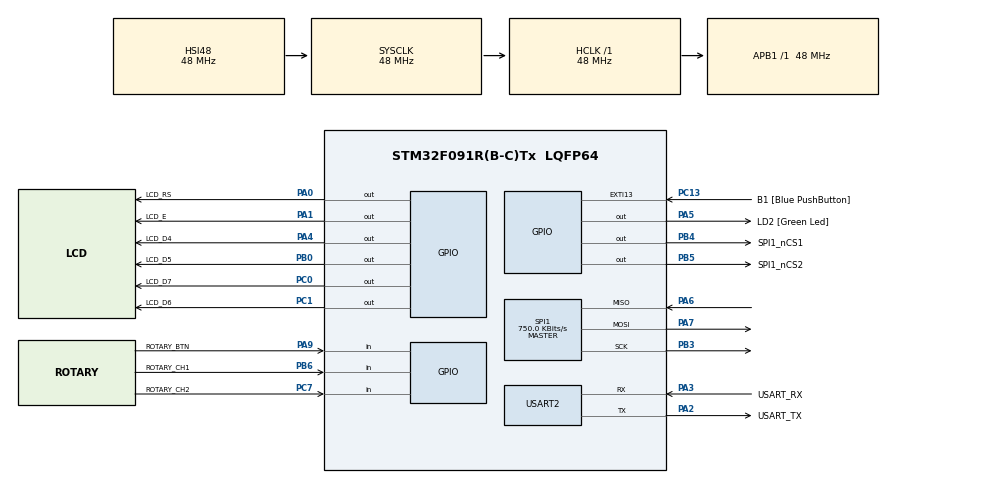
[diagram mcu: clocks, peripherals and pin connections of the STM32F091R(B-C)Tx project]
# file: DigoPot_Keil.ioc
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Dma.Request0=USART2_RX
Dma.Request1=USART2_TX
Dma.USART2_RX.0.DMA1_Remap_Macro_Arg=HAL_DMA1_CH1_USART2_RX
Dma.USART2_RX.0.Direction=DMA_PERIPH_TO_MEMORY
Dma.USART2_RX.0.Instance=DMA1_Channel1
Dma.USART2_RX.0.MemDataAlignment=DMA_MDATAALIGN_BYTE
Dma.USART2_RX.0.MemInc=DMA_MINC_DISABLE
Dma.USART2_RX.0.Mode=DMA_CIRCULAR
Dma.USART2_RX.0.PeriphDataAlignment=DMA_PDATAALIGN_BYTE
Dma.USART2_RX.0.PeriphInc=DMA_PINC_DISABLE
Dma.USART2_RX.0.Priority=DMA_PRIORITY_MEDIUM
Dma.USART2_RX.0.Request=DMA_REQUEST_9
Dma.USART2_TX.1.DMA1_Remap_Macro_Arg=HAL_DMA1_CH2_USART2_TX
Dma.USART2_TX.1.Direction=DMA_MEMORY_TO_PERIPH
Dma.USART2_TX.1.Instance=DMA1_Channel2
Dma.USART2_TX.1.MemDataAlignment=DMA_MDATAALIGN_BYTE
Dma.USART2_TX.1.MemInc=DMA_MINC_ENABLE
Dma.USART2_TX.1.Mode=DMA_NORMAL
Dma.USART2_TX.1.PeriphDataAlignment=DMA_PDATAALIGN_BYTE
Dma.USART2_TX.1.PeriphInc=DMA_PINC_DISABLE
Dma.USART2_TX.1.Priority=DMA_PRIORITY_MEDIUM
Dma.USART2_TX.1.Request=DMA_REQUEST_9
Mcu.Family=STM32F0
Mcu.Name=STM32F091R(B-C)Tx
Mcu.Package=LQFP64
NVIC.DMA1_Ch1_IRQn=true\:0\:0\:false
NVIC.DMA1_Ch2_3_DMA2_Ch1_2_IRQn=true\:0\:0\:false
NVIC.TIM3_IRQn=true\:0\:0\:false
NVIC.USART2_IRQn=true\:0\:0\:false
PA0.GPIO_Label=LCD_RS
PA0.GPIO_ModeDefaultOutputPP=GPIO_MODE_OUTPUT_PP
PA0.GPIO_PuPd=GPIO_NOPULL
PA0.GPIO_Speed=GPIO_SPEED_LOW
PA0.Signal=GPIO_Output
PA1.GPIO_Label=LCD_E
PA1.GPIO_ModeDefaultOutputPP=GPIO_MODE_OUTPUT_PP
PA1.GPIO_PuPd=GPIO_NOPULL
PA1.GPIO_Speed=GPIO_SPEED_LOW
PA1.Signal=GPIO_Output
PA13.GPIO_Label=TMS
PA13.Mode=Serial-WireDebug
PA13.Signal=SYS_SWDIO
PA14.GPIO_Label=TCK
PA14.Mode=Serial-WireDebug
PA14.Signal=SYS_SWCLK
PA2.GPIO_Label=USART_TX
PA2.GPIO_Mode=GPIO_MODE_AF_PP
PA2.GPIO_PuPd=GPIO_PULLUP
PA2.GPIO_Speed=GPIO_SPEED_LOW
PA2.Mode=Asynchronous
PA2.Signal=USART2_TX
PA3.GPIO_Label=USART_RX
PA3.GPIO_Mode=GPIO_MODE_AF_PP
PA3.GPIO_PuPd=GPIO_PULLUP
PA3.GPIO_Speed=GPIO_SPEED_LOW
PA3.Mode=Asynchronous
PA3.Signal=USART2_RX
PA4.GPIO_Label=LCD_D4
PA4.GPIO_ModeDefaultOutputPP=GPIO_MODE_OUTPUT_PP
PA4.GPIO_PuPd=GPIO_NOPULL
PA4.GPIO_Speed=GPIO_SPEED_LOW
PA4.Signal=GPIO_Output
PA5.GPIO_Label=LD2 [Green Led]
PA5.GPIO_Mode=GPIO_MODE_OUTPUT_PP
PA5.GPIO_ModeDefaultOutputPP=GPIO_MODE_OUTPUT_PP
PA5.GPIO_PuPd=GPIO_NOPULL
PA5.GPIO_Speed=GPIO_SPEED_LOW
PA5.Signal=GPIO_Output
PA6.Mode=Full_Duplex_Master
PA6.Signal=SPI1_MISO
PA7.Mode=Full_Duplex_Master
PA7.Signal=SPI1_MOSI
PA9.GPIO_Label=ROTARY_BTN
PA9.GPIO_Mode=GPIO_MODE_INPUT
PA9.GPIO_PuPd=GPIO_PULLUP
PA9.Signal=GPIO_Input
PB0.GPIO_Label=LCD_D5
PB0.GPIO_ModeDefaultOutputPP=GPIO_MODE_OUTPUT_PP
PB0.GPIO_PuPd=GPIO_NOPULL
PB0.GPIO_Speed=GPIO_SPEED_LOW
PB0.Signal=GPIO_Output
PB3.Mode=Full_Duplex_Master
PB3.Signal=SPI1_SCK
PB4.GPIO_Label=SPI1_nCS1
PB4.GPIO_ModeDefaultOutputPP=GPIO_MODE_OUTPUT_PP
PB4.GPIO_PuPd=GPIO_NOPULL
PB4.GPIO_Speed=GPIO_SPEED_LOW
PB4.Signal=GPIO_Output
PB5.GPIO_Label=SPI1_nCS2
PB5.GPIO_ModeDefaultOutputPP=GPIO_MODE_OUTPUT_PP
PB5.GPIO_PuPd=GPIO_NOPULL
PB5.GPIO_Speed=GPIO_SPEED_LOW
PB5.Signal=GPIO_Output
PB6.GPIO_Label=ROTARY_CH1
PB6.GPIO_Mode=GPIO_MODE_INPUT
PB6.GPIO_PuPd=GPIO_PULLUP
PB6.Signal=GPIO_Input
PC0.GPIO_Label=LCD_D7
PC0.GPIO_ModeDefaultOutputPP=GPIO_MODE_OUTPUT_PP
PC0.GPIO_PuPd=GPIO_NOPULL
PC0.GPIO_Speed=GPIO_SPEED_LOW
PC0.Signal=GPIO_Output
PC1.GPIO_Label=LCD_D6
PC1.GPIO_ModeDefaultOutputPP=GPIO_MODE_OUTPUT_PP
PC1.GPIO_PuPd=GPIO_NOPULL
PC1.GPIO_Speed=GPIO_SPEED_LOW
PC1.Signal=GPIO_Output
PC13.GPIO_Label=B1 [Blue PushButton]
PC13.GPIO_ModeDefaultEXTI=GPIO_MODE_EVT_RISING
PC13.GPIO_PuPd=GPIO_NOPULL
PC13.Signal=GPXTI13
PC14OSC32_IN.Signal=RCC_OSC32_IN
PC15OSC32_OUT.Signal=RCC_OSC32_OUT
PC7.GPIO_Label=ROTARY_CH2
PC7.GPIO_Mode=GPIO_MODE_INPUT
PC7.GPIO_PuPd=GPIO_PULLUP
PC7.Signal=GPIO_Input
PF0-OSC_IN.Signal=RCC_OSC_IN
PF1-OSC_OUT.Signal=RCC_OSC_OUT
ProjectManager.TargetToolchain=MDK-ARM V5
RCC.AHBFreq_Value=48000000
RCC.APB1Freq_Value=48000000
RCC.APB1TimFreq_Value=48000000
RCC.FLatency-AdvancedSettings=FLASH_LATENCY_1
RCC.HCLKFreq_Value=48000000
RCC.PLLDivider=RCC_PREDIV_DIV2
RCC.PLLMUL=RCC_PLL_MUL12
RCC.PREFETCH_ENABLE-AdvancedSettings=1
RCC.SYSCLKFreq_VALUE=48000000
RCC.SYSCLKSource=RCC_SYSCLKSOURCE_HSI48
SPI1.BaudRatePrescaler=SPI_BAUDRATEPRESCALER_64
SPI1.CalculateBaudRate=750.0 KBits/s
SPI1.DataSize=SPI_DATASIZE_8BIT
SPI1.Mode=SPI_MODE_MASTER
TIM3.Period=999
TIM3.Prescaler=48
USART2.WordLength=UART_WORDLENGTH_8B
VP_TIM3_VS_ClockSourceINT.Mode=Internal
board=NUCLEO-F091RC

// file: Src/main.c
/**
  ******************************************************************************
  * File Name          : main.c
  * Description        : Main program body
  ******************************************************************************
  *
  * COPYRIGHT(c) 2015 STMicroelectronics
  *
  * Redistribution and use in source and binary forms, with or without modification,
  * are permitted provided that the following conditions are met:
  *   1. Redistributions of source code must retain the above copyright notice,
  *      this list of conditions and the following disclaimer.
  *   2. Redistributions in binary form must reproduce the above copyright notice,
  *      this list of conditions and the following disclaimer in the documentation
  *      and/or other materials provided with the distribution.
  *   3. Neither the name of STMicroelectronics nor the names of its contributors
  *      may be used to endorse or promote products derived from this software
  *      without specific prior written permission.
  *
  * THIS SOFTWARE IS PROVIDED BY THE COPYRIGHT HOLDERS AND CONTRIBUTORS "AS IS"
  * AND ANY EXPRESS OR IMPLIED WARRANTIES, INCLUDING, BUT NOT LIMITED TO, THE
  * IMPLIED WARRANTIES OF MERCHANTABILITY AND FITNESS FOR A PARTICULAR PURPOSE ARE
  * DISCLAIMED. IN NO EVENT SHALL THE COPYRIGHT HOLDER OR CONTRIBUTORS BE LIABLE
  * FOR ANY DIRECT, INDIRECT, INCIDENTAL, SPECIAL, EXEMPLARY, OR CONSEQUENTIAL
  * DAMAGES (INCLUDING, BUT NOT LIMITED TO, PROCUREMENT OF SUBSTITUTE GOODS OR
  * SERVICES; LOSS OF USE, DATA, OR PROFITS; OR BUSINESS INTERRUPTION) HOWEVER
  * CAUSED AND ON ANY THEORY OF LIABILITY, WHETHER IN CONTRACT, STRICT LIABILITY,
  * OR TORT (INCLUDING NEGLIGENCE OR OTHERWISE) ARISING IN ANY WAY OUT OF THE USE
  * OF THIS SOFTWARE, EVEN IF ADVISED OF THE POSSIBILITY OF SUCH DAMAGE.
  *
  ******************************************************************************
  */
#include "stm32f0xx_hal.h"

/* USER CODE BEGIN Includes */
#include "timer3_handler.h"
#include "uart.h"
#include "periphery_drivers\lcd_driver.h"
#include "periphery_drivers\MCP41HV51_driver.h"
#include "string.h"
/* USER CODE END Includes */

SPI_HandleTypeDef hspi1;

TIM_HandleTypeDef htim3;

UART_HandleTypeDef huart2;
DMA_HandleTypeDef hdma_usart2_rx;
DMA_HandleTypeDef hdma_usart2_tx;

/* USER CODE BEGIN PV */
/* Private variables ---------------------------------------------------------*/

/* USER CODE END PV */

void SystemClock_Config(void);
static void MX_GPIO_Init(void);
static void MX_DMA_Init(void);
static void MX_SPI1_Init(void);
static void MX_TIM3_Init(void);
static void MX_USART2_UART_Init(void);

/* USER CODE BEGIN PFP */
/* Private function prototypes -----------------------------------------------*/

/* USER CODE END PFP */

/* USER CODE BEGIN 0 */

extern DMA_HandleTypeDef hdma_usartw_rx;

/* USER CODE END 0 */

int main(void)
{

  /* MCU Configuration----------------------------------------------------------*/

  /* Reset of all peripherals, Initializes the Flash interface and the Systick. */
  HAL_Init();

  /* Configure the system clock */
  SystemClock_Config();

  /* Initialize all configured peripherals */
  MX_GPIO_Init();
  MX_DMA_Init();
  MX_SPI1_Init();
  MX_TIM3_Init();
  MX_USART2_UART_Init();

  /* USER CODE BEGIN 2 */
	LCDinit();
	uart2_start(&huart2);
	HAL_TIM_Base_Start_IT(&htim3);

	//LCDstring("potatos");
  /* USER CODE END 2 */

  /* Infinite loop */
  /* USER CODE BEGIN WHILE */

  char debugString[16];
  const uint16_t loopDelayDefault = 10;
  uint16_t loopDelay ;

  uint8_t temp =0;

	MCP41HV51_status_t digipot_status;

	mcp41hv51_init (&hspi1);

	LCDstringDefinedPos("Hello",0,0);
	LCDstringDefinedPos("World",5,1);
	HAL_Delay(2000);

  while (1)
  {
	loopDelay = loopDelayDefault;
	//LCDclr();

	switch (RotaryGetEvent()) {
		case ROTARY_IDLE:
			break;
		case ROTARY_PUSH:

			LCDclr();
			//sprintf((char*)uartTxBuffer,"%s","Enter new value\r\n");
			//HAL_UART_Transmit(&huart2,uartTxBuffer,strlen((char*)uartTxBuffer),100);

			//LCDstringDefinedPos((char*)uartRxBuffer,0,0);

			digipot_status = Pot_wiper_read(POT100k,&temp );
			if (digipot_status == CMD_OK) {
				sprintf(debugString,"%02X ",temp);
				LCDstringDefinedPos("OK",0,0);
				LCDstringDefinedPos(debugString,0,1);
			} else {
				sprintf(debugString,"%02X ", (uint8_t)digipot_status);
				LCDstringDefinedPos("ERR",0,0);
				LCDstringDefinedPos(debugString,0,1);
			}

			break;
		case ROTARY_CW:
			LCDclr();
			//digipot_status = Pot_wiper_write(POT100k,0xDF);
			digipot_status = Pot_wiper_increment(POT100k);
			if (digipot_status == CMD_OK) {
				digipot_status = Pot_wiper_read(POT100k,&temp );
				sprintf(debugString,"%02X ",temp);
				LCDstringDefinedPos("OK",0,0);
				LCDstringDefinedPos(debugString,0,1);
			} else {
				sprintf(debugString,"%02X ", (uint8_t)digipot_status);
				LCDstringDefinedPos("ERR",0,0);
				LCDstringDefinedPos(debugString,0,1);
			}

			break;
		case ROTARY_CCW:
			LCDclr();
			//digipot_status = Pot_wiper_write(POT100k,0x20);
			digipot_status = Pot_wiper_decrement(POT100k);
			if (digipot_status == CMD_OK) {
				digipot_status = Pot_wiper_read(POT100k,&temp );
				sprintf(debugString,"%02X ",temp);
				LCDstringDefinedPos("OK",0,0);
				LCDstringDefinedPos(debugString,0,1);
			} else {
				sprintf(debugString,"%02X ", (uint8_t)digipot_status);
				LCDstringDefinedPos("ERR",0,0);
				LCDstringDefinedPos(debugString,0,1);
			}
			break;
		default:
			break;
	}

	HAL_Delay(loopDelay);

  /* USER CODE END WHILE */

  }

}

/** System Clock Configuration
*/
void SystemClock_Config(void)
{

  RCC_OscInitTypeDef RCC_OscInitStruct;
  RCC_ClkInitTypeDef RCC_ClkInitStruct;
  RCC_PeriphCLKInitTypeDef PeriphClkInit;

  RCC_OscInitStruct.OscillatorType = RCC_OSCILLATORTYPE_HSI48;
  RCC_OscInitStruct.HSI48State = RCC_HSI48_ON;
  RCC_OscInitStruct.PLL.PLLState = RCC_PLL_NONE;
  HAL_RCC_OscConfig(&RCC_OscInitStruct);

  RCC_ClkInitStruct.ClockType = RCC_CLOCKTYPE_SYSCLK;
  RCC_ClkInitStruct.SYSCLKSource = RCC_SYSCLKSOURCE_HSI48;
  RCC_ClkInitStruct.AHBCLKDivider = RCC_SYSCLK_DIV1;
  RCC_ClkInitStruct.APB1CLKDivider = RCC_HCLK_DIV1;
  HAL_RCC_ClockConfig(&RCC_ClkInitStruct, FLASH_LATENCY_1);

  PeriphClkInit.PeriphClockSelection = RCC_PERIPHCLK_USART2;
  PeriphClkInit.Usart2ClockSelection = RCC_USART2CLKSOURCE_PCLK1;
  HAL_RCCEx_PeriphCLKConfig(&PeriphClkInit);

  HAL_SYSTICK_Config(HAL_RCC_GetHCLKFreq()/1000);

  HAL_SYSTICK_CLKSourceConfig(SYSTICK_CLKSOURCE_HCLK);

}

/* SPI1 init function */
void MX_SPI1_Init(void)
{

  hspi1.Instance = SPI1;
  hspi1.Init.Mode = SPI_MODE_MASTER;
  hspi1.Init.Direction = SPI_DIRECTION_2LINES;
  hspi1.Init.DataSize = SPI_DATASIZE_8BIT;
  hspi1.Init.CLKPolarity = SPI_POLARITY_LOW;
  hspi1.Init.CLKPhase = SPI_PHASE_1EDGE;
  hspi1.Init.NSS = SPI_NSS_SOFT;
  hspi1.Init.BaudRatePrescaler = SPI_BAUDRATEPRESCALER_64;
  hspi1.Init.FirstBit = SPI_FIRSTBIT_MSB;
  hspi1.Init.TIMode = SPI_TIMODE_DISABLED;
  hspi1.Init.CRCCalculation = SPI_CRCCALCULATION_DISABLED;
  hspi1.Init.CRCPolynomial = 10;
  hspi1.Init.CRCLength = SPI_CRC_LENGTH_DATASIZE;
  hspi1.Init.NSSPMode = SPI_NSS_PULSE_ENABLED;
  HAL_SPI_Init(&hspi1);

}

/* TIM3 init function */
void MX_TIM3_Init(void)
{

  TIM_ClockConfigTypeDef sClockSourceConfig;
  TIM_MasterConfigTypeDef sMasterConfig;

  htim3.Instance = TIM3;
  htim3.Init.Prescaler = 48;
  htim3.Init.CounterMode = TIM_COUNTERMODE_UP;
  htim3.Init.Period = 999;
  htim3.Init.ClockDivision = TIM_CLOCKDIVISION_DIV1;
  HAL_TIM_Base_Init(&htim3);

  sClockSourceConfig.ClockSource = TIM_CLOCKSOURCE_INTERNAL;
  HAL_TIM_ConfigClockSource(&htim3, &sClockSourceConfig);

  sMasterConfig.MasterOutputTrigger = TIM_TRGO_RESET;
  sMasterConfig.MasterSlaveMode = TIM_MASTERSLAVEMODE_DISABLE;
  HAL_TIMEx_MasterConfigSynchronization(&htim3, &sMasterConfig);

}

/* USART2 init function */
void MX_USART2_UART_Init(void)
{

  huart2.Instance = USART2;
  huart2.Init.BaudRate = 115200;
  huart2.Init.WordLength = UART_WORDLENGTH_8B;
  huart2.Init.StopBits = UART_STOPBITS_1;
  huart2.Init.Parity = UART_PARITY_NONE;
  huart2.Init.Mode = UART_MODE_TX_RX;
  huart2.Init.HwFlowCtl = UART_HWCONTROL_NONE;
  huart2.Init.OverSampling = UART_OVERSAMPLING_16;
  huart2.Init.OneBitSampling = UART_ONEBIT_SAMPLING_DISABLED;
  huart2.AdvancedInit.AdvFeatureInit = UART_ADVFEATURE_NO_INIT;
  HAL_UART_Init(&huart2);

}

void MX_DMA_Init(void)
{
  /* DMA controller clock enable */
  __DMA1_CLK_ENABLE();

  /* DMA interrupt init */
  HAL_NVIC_SetPriority(DMA1_Ch1_IRQn, 0, 0);
  HAL_NVIC_EnableIRQ(DMA1_Ch1_IRQn);
  HAL_NVIC_SetPriority(DMA1_Ch2_3_DMA2_Ch1_2_IRQn, 0, 0);
  HAL_NVIC_EnableIRQ(DMA1_Ch2_3_DMA2_Ch1_2_IRQn);

}

/** Configure pins as
        * Analog
        * Input
        * Output
        * EVENT_OUT
        * EXTI
*/
void MX_GPIO_Init(void)
{

  GPIO_InitTypeDef GPIO_InitStruct;

  /* GPIO Ports Clock Enable */
  __GPIOC_CLK_ENABLE();
  __GPIOF_CLK_ENABLE();
  __GPIOA_CLK_ENABLE();
  __GPIOB_CLK_ENABLE();

  /*Configure GPIO pin : PC13 */
  GPIO_InitStruct.Pin = GPIO_PIN_13;
  GPIO_InitStruct.Mode = GPIO_MODE_EVT_RISING;
  GPIO_InitStruct.Pull = GPIO_NOPULL;
  HAL_GPIO_Init(GPIOC, &GPIO_InitStruct);

  /*Configure GPIO pins : PC0 PC1 */
  GPIO_InitStruct.Pin = GPIO_PIN_0|GPIO_PIN_1;
  GPIO_InitStruct.Mode = GPIO_MODE_OUTPUT_PP;
  GPIO_InitStruct.Pull = GPIO_NOPULL;
  GPIO_InitStruct.Speed = GPIO_SPEED_LOW;
  HAL_GPIO_Init(GPIOC, &GPIO_InitStruct);

  /*Configure GPIO pins : PA0 PA1 PA4 PA5 */
  GPIO_InitStruct.Pin = GPIO_PIN_0|GPIO_PIN_1|GPIO_PIN_4|GPIO_PIN_5;
  GPIO_InitStruct.Mode = GPIO_MODE_OUTPUT_PP;
  GPIO_InitStruct.Pull = GPIO_NOPULL;
  GPIO_InitStruct.Speed = GPIO_SPEED_LOW;
  HAL_GPIO_Init(GPIOA, &GPIO_InitStruct);

  /*Configure GPIO pins : PB0 PB4 PB5 */
  GPIO_InitStruct.Pin = GPIO_PIN_0|GPIO_PIN_4|GPIO_PIN_5;
  GPIO_InitStruct.Mode = GPIO_MODE_OUTPUT_PP;
  GPIO_InitStruct.Pull = GPIO_NOPULL;
  GPIO_InitStruct.Speed = GPIO_SPEED_LOW;
  HAL_GPIO_Init(GPIOB, &GPIO_InitStruct);

  /*Configure GPIO pin : PC7 */
  GPIO_InitStruct.Pin = GPIO_PIN_7;
  GPIO_InitStruct.Mode = GPIO_MODE_INPUT;
  GPIO_InitStruct.Pull = GPIO_PULLUP;
  HAL_GPIO_Init(GPIOC, &GPIO_InitStruct);

  /*Configure GPIO pin : PA9 */
  GPIO_InitStruct.Pin = GPIO_PIN_9;
  GPIO_InitStruct.Mode = GPIO_MODE_INPUT;
  GPIO_InitStruct.Pull = GPIO_PULLUP;
  HAL_GPIO_Init(GPIOA, &GPIO_InitStruct);

  /*Configure GPIO pin : PB6 */
  GPIO_InitStruct.Pin = GPIO_PIN_6;
  GPIO_InitStruct.Mode = GPIO_MODE_INPUT;
  GPIO_InitStruct.Pull = GPIO_PULLUP;
  HAL_GPIO_Init(GPIOB, &GPIO_InitStruct);

}

/************************ (C) COPYRIGHT STMicroelectronics *****END OF FILE****/
